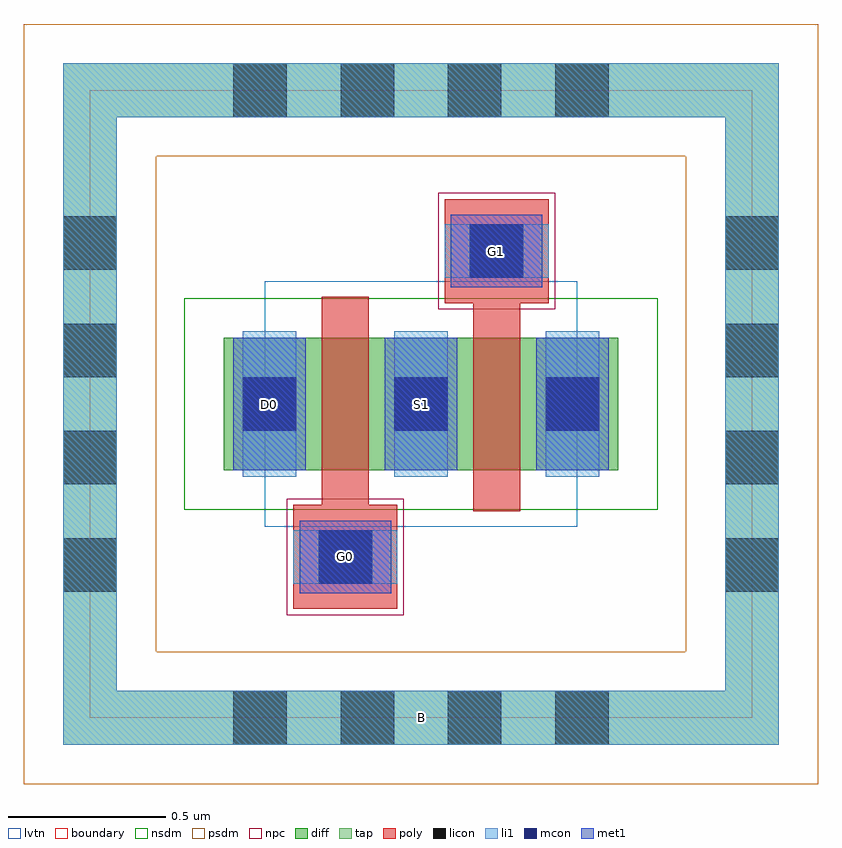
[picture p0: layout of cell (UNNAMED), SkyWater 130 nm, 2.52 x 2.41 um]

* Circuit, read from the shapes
.subckt (UNNAMED) B D0 G0 G1 S1
XM1 S1 G0 D0 B sky130_fd_pr__nfet_01v8_lvt w=0.42 l=0.15
XM2 n1 G1 S1 B sky130_fd_pr__nfet_01v8_lvt w=0.42 l=0.15
.ends

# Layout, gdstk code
import gdstk
lib = gdstk.Library(unit=1e-6, precision=1e-09)
def R(c, l, rs):  # rectangles x0, y0, x1, y1
    for r in rs: c.add(gdstk.rectangle(r[:2], r[2:], *l))
def A(c, l, x, y, w, h, nx, ny, dx, dy):  # array of equal rectangles
    R(c, l, [(x+i*dx, y+j*dy, x+i*dx+w, y+j*dy+h) for i in range(nx) for j in range(ny)])
diff = (65, 20)
tap = (65, 44)
poly = (66, 20)
licon = (66, 44)
li1 = (67, 20)
mcon = (67, 44)
met1 = (68, 20)
nsdm = (93, 44)
psdm = (94, 20)
npc = (95, 20)
lvtn = (125, 44)
boundary = (235, 4)

c__unnamed_ = lib.new_cell('(UNNAMED)')
R(c__unnamed_, diff, [(-0.625,-0.21,0.625,0.21)])
R(c__unnamed_, tap, [(-1.135,-1.08,1.135,-0.91), (-1.135,-0.91,-0.965,0.91), (0.965,-0.91,1.135,0.91), (-1.135,0.91,1.135,1.08)])
R(c__unnamed_, poly, [(-0.405,-0.65,-0.075,-0.32), (0.165,-0.34,0.315,0.32), (-0.315,-0.32,-0.165,0.34), (0.075,0.32,0.405,0.65)])
A(c__unnamed_, licon, -0.595, -1.08, 0.17, 0.17, 4, 2, 0.34, 1.99)
A(c__unnamed_, licon, -1.135, -0.595, 0.17, 0.17, 1, 4, 0, 0.34)
A(c__unnamed_, licon, 0.965, -0.595, 0.17, 0.17, 1, 4, 0, 0.34)
A(c__unnamed_, licon, -0.565, -0.085, 0.17, 0.17, 3, 1, 0.48, 0)
R(c__unnamed_, licon, [(-0.325,-0.57,-0.155,-0.4), (0.155,0.4,0.325,0.57)])
A(c__unnamed_, li1, -0.565, -0.23, 0.17, 0.46, 3, 1, 0.48, 0)
R(c__unnamed_, li1, [(-1.135,-1.08,1.135,-0.91), (-1.135,-0.91,-0.965,0.91), (0.965,-0.91,1.135,0.91), (-0.405,-0.57,-0.075,-0.4), (0.075,0.4,0.405,0.57), (-1.135,0.91,1.135,1.08)])
A(c__unnamed_, mcon, -0.565, -0.085, 0.17, 0.17, 3, 1, 0.48, 0)
R(c__unnamed_, mcon, [(-0.325,-0.57,-0.155,-0.4), (0.155,0.4,0.325,0.57)])
A(c__unnamed_, met1, -0.595, -0.21, 0.23, 0.42, 3, 1, 0.48, 0)
R(c__unnamed_, met1, [(-0.385,-0.6,-0.095,-0.37), (0.095,0.37,0.385,0.6)])
R(c__unnamed_, nsdm, [(-0.75,-0.335,0.75,0.335)])
R(c__unnamed_, psdm, [(-1.26,-1.205,1.26,-0.785), (-1.26,-0.785,-0.84,0.785), (0.84,-0.785,1.26,0.785), (-1.26,0.785,1.26,1.205)])
R(c__unnamed_, npc, [(-0.425,-0.67,-0.055,-0.3), (0.055,0.3,0.425,0.67)])
R(c__unnamed_, lvtn, [(-0.495,-0.39,0.495,0.39)])
R(c__unnamed_, boundary, [(-1.05,-0.995,1.05,0.995)])
c__unnamed_.add(gdstk.Label('B', (0,-0.995), layer=67, texttype=5))
c__unnamed_.add(gdstk.Label('D0', (-0.48,0), layer=67, texttype=5))
c__unnamed_.add(gdstk.Label('G0', (-0.24,-0.485), layer=67, texttype=5))
c__unnamed_.add(gdstk.Label('S1', (0,0), layer=67, texttype=5))
c__unnamed_.add(gdstk.Label('G1', (0.24,0.485), layer=67, texttype=5))

lib.write_gds('_UNNAMED_.gds')
